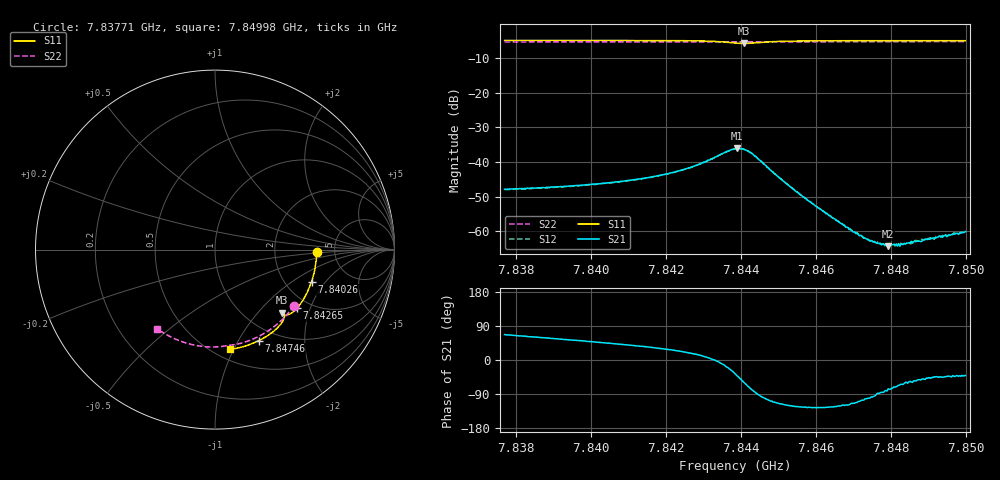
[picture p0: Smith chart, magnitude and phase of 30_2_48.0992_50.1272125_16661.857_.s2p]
#  HZ  S  RI  R  50.00
! Rohde & Schwarz Vector Network Analyzer
! Rohde-Schwarz,ZNB20-2Port,1311601062101988,3.16
! Created: UTC 12/23/2023, 3:37:34 AM
! freq[Hz]  re:S11  im:S11  re:S21  im:S21  re:S12  im:S12  re:S22  im:S22
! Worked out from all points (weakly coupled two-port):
!   401 points, 7.83771 GHz to 7.84998 GHz, reference 50 ohm
!   highest |S21| = -36.06 dB at 7.8439 GHz (marker M1); lowest = -64.3 dB at 7.84792 GHz (marker M2)
!   lowest |S11| = -5.8 dB at 7.84409 GHz (marker M3), VSWR 3.11, Z = 71.6 - j68.1 ohm
!   |S11| at or under -10 dB: nowhere
!   |S22| runs from -5.4 to -5.2 dB; largest |S21 - S12| = 0.00036
!   S11 on the Smith chart (normalised r, x): 7.83771 GHz: 3.61, -0.13; 7.84026 GHz: 2.76, -1.46; 7.84265 GHz: 1.71, -1.63; 7.84746 GHz: 0.82, -1.22; 7.84998 GHz: 0.59, -0.97
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7.83771e9  0.5665 -0.0125  0.00157 0.00373  0.0016 0.00368  0.4404 -0.3123
7.839764e9  0.5475 -0.148  0.00294 0.00359  0.0029 0.00352  0.3431 -0.418
7.840255e9  0.5379 -0.1797  0.00339 0.00351  0.00333 0.00352  0.3158 -0.4392
7.841819e9  0.4927 -0.2775  0.00551 0.00329  0.00543 0.0033  0.221 -0.4945
7.842647e9  0.457 -0.3265  0.0079 0.00263  0.00783 0.00265  0.1665 -0.5152
7.843383e9  0.4098 -0.3617  0.0123 -0.000796  0.0121 -0.000884  0.1161 -0.5279
7.843843e9  0.3758 -0.3597  0.0124 -0.009  0.0125 -0.00904  0.0853 -0.5322
7.843905e9  0.3739 -0.3569  0.0116 -0.0106  0.0117 -0.0102  0.0816 -0.5327
7.844089e9  0.3742 -0.3507  0.00765 -0.0131  0.00768 -0.0131  0.0701 -0.5344
7.844365e9  0.3838 -0.3559  0.00132 -0.0122  0.0012 -0.0121  0.0526 -0.5376
7.845193e9  0.3688 -0.4122  -0.00237 -0.00436  -0.00238 -0.00441  -0.00536 -0.543
7.845898e9  0.3333 -0.4495  -0.00148 -0.00206  -0.00148 -0.00203  -0.0554 -0.5409
7.846941e9  0.2738 -0.4913  -0.000426 -0.000947  -0.000433 -0.00095  -0.1277 -0.5293
7.847462e9  0.2425 -0.5078  -9.71e-05 -0.000719  -9.35e-05 -0.00073  -0.163 -0.5197
7.847738e9  0.2256 -0.5158  5.22e-05 -0.000639  6.77e-05 -0.000661  -0.1814 -0.5138
7.847922e9  0.2142 -0.5206  0.000148 -0.000593  0.000159 -0.000621  -0.1938 -0.5095
7.847953e9  0.2124 -0.5214  0.000133 -0.000604  0.000166 -0.000648  -0.1957 -0.5088
7.848536e9  0.1757 -0.5349  0.000385 -0.000608  0.000362 -0.000556  -0.2335 -0.4929
7.848689e9  0.1659 -0.5381  0.000429 -0.00058  0.000413 -0.0006  -0.243 -0.4883
7.849149e9  0.1363 -0.5462  0.000574 -0.000559  0.00052 -0.000566  -0.2718 -0.4734
7.849732e9  0.0982 -0.5543  0.0007 -0.000623  0.000691 -0.000629  -0.3066 -0.4521
7.849977e9  0.082 -0.5566  0.000749 -0.000652  0.000729 -0.000634  -0.3209 -0.4422
